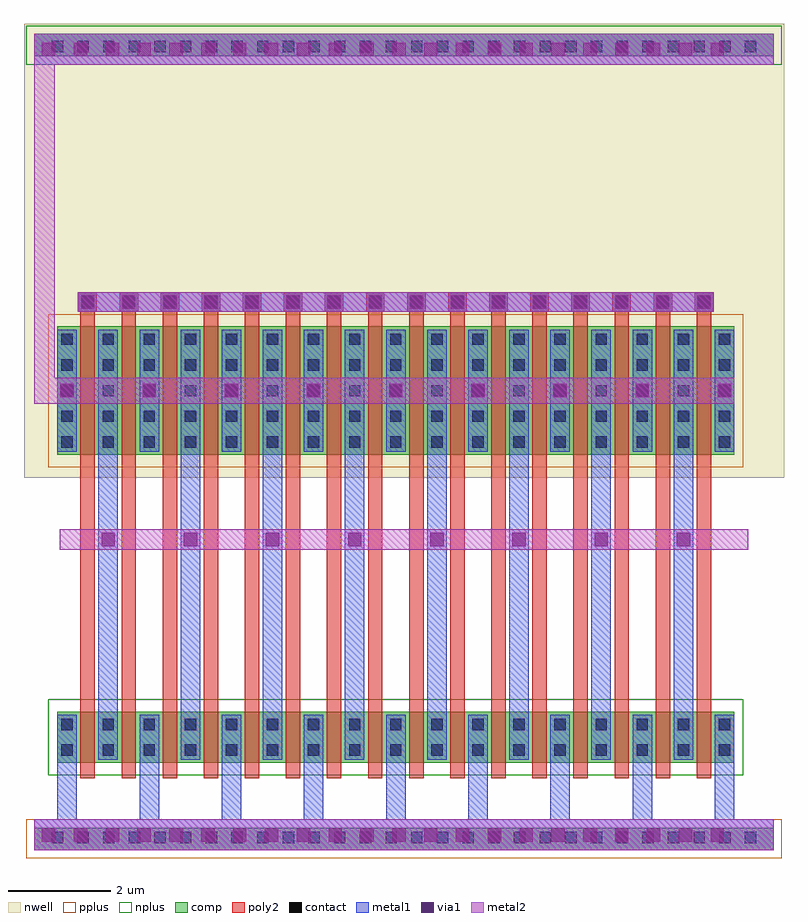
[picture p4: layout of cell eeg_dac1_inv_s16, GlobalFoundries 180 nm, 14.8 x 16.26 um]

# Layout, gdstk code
import gdstk
lib = gdstk.Library(unit=1e-6, precision=1e-09)
def R(c, l, rs):  # rectangles x0, y0, x1, y1
    for r in rs: c.add(gdstk.rectangle(r[:2], r[2:], *l))
def A(c, l, x, y, w, h, nx, ny, dx, dy):  # array of equal rectangles
    R(c, l, [(x+i*dx, y+j*dy, x+i*dx+w, y+j*dy+h) for i in range(nx) for j in range(ny)])
nwell = (21, 0)
comp = (22, 0)
poly2 = (30, 0)
pplus = (31, 0)
nplus = (32, 0)
contact = (33, 0)
metal1 = (34, 0)
via1 = (35, 0)
metal2 = (36, 0)

eeg_dac1_inv_s16 = lib.new_cell('eeg_dac1_inv_s16')
R(eeg_dac1_inv_s16, nwell, [(-0.2,7.25,14.6,16.1)])
R(eeg_dac1_inv_s16, comp, [(0,0,14.4,0.44), (0.45,1.7,13.63,2.7), (0.45,7.7,13.63,10.2), (0,15.46,14.4,15.9)])
A(eeg_dac1_inv_s16, poly2, 0.9, 1.4, 0.28, 6.3, 16, 1, 0.8, 0)
A(eeg_dac1_inv_s16, poly2, 0.9, 7.4, 0.28, 3.46, 16, 1, 0.8, 0)
A(eeg_dac1_inv_s16, poly2, 0.86, 10.5, 0.36, 0.36, 16, 1, 0.8, 0)
R(eeg_dac1_inv_s16, pplus, [(-0.16,-0.16,14.56,0.6), (0.27,7.46,13.81,10.44)])
R(eeg_dac1_inv_s16, nplus, [(0.27,1.46,13.81,2.94), (-0.16,15.3,14.56,16.06)])
A(eeg_dac1_inv_s16, contact, 0.34, 0.14, 0.22, 0.22, 28, 2, 0.5, 15.4)
A(eeg_dac1_inv_s16, contact, 0.53, 1.84, 0.22, 0.22, 17, 2, 0.8, 0.5)
A(eeg_dac1_inv_s16, contact, 0.53, 7.84, 0.22, 0.22, 17, 5, 0.8, 0.5)
A(eeg_dac1_inv_s16, contact, 0.93, 10.57, 0.22, 0.22, 16, 1, 0.8, 0)
A(eeg_dac1_inv_s16, metal1, 0.45, 0.3, 0.38, 2.34, 9, 1, 1.6, 0)
A(eeg_dac1_inv_s16, metal1, 1.25, 1.76, 0.38, 4.49, 8, 1, 1.6, 0)
A(eeg_dac1_inv_s16, metal1, 1.25, 5.85, 0.38, 4.29, 8, 1, 1.6, 0)
A(eeg_dac1_inv_s16, metal1, 0.45, 7.76, 0.38, 2.38, 9, 1, 1.6, 0)
R(eeg_dac1_inv_s16, metal1, [(0,0,14.4,0.6), (0,0,14.4,0.44), (0.85,10.49,13.23,10.87), (0,15.3,14.4,15.9), (0,15.46,14.4,15.9)])
A(eeg_dac1_inv_s16, via1, 0.15, 0.17, 0.26, 0.26, 22, 2, 0.62, 15.3)
A(eeg_dac1_inv_s16, via1, 0.51, 8.82, 0.26, 0.26, 9, 1, 1.6, 0)
A(eeg_dac1_inv_s16, via1, 0.91, 10.55, 0.26, 0.26, 16, 1, 0.8, 0)
R(eeg_dac1_inv_s16, via1, [(1.31,5.92,1.57,6.18), (1.31,5.92,1.57,6.18), (2.91,5.92,3.17,6.18), (2.91,5.92,3.17,6.18), (4.51,5.92,4.77,6.18), (4.51,5.92,4.77,6.18), (6.11,5.92,6.37,6.18), (6.11,5.92,6.37,6.18), (7.71,5.92,7.97,6.18), (7.71,5.92,7.97,6.18), (9.31,5.92,9.57,6.18), (9.31,5.92,9.57,6.18), (10.91,5.92,11.17,6.18), (10.91,5.92,11.17,6.18), (12.51,5.92,12.77,6.18), (12.51,5.92,12.77,6.18)])
R(eeg_dac1_inv_s16, metal2, [(0,0,14.4,0.6), (0.5,5.85,13.9,6.25), (0,8.7,13.63,9.2), (0,8.7,0.4,15.3), (0.85,10.49,13.23,10.87), (0,15.3,14.4,15.9)])

lib.write_gds('eeg_dac1_inv_s16.gds')
